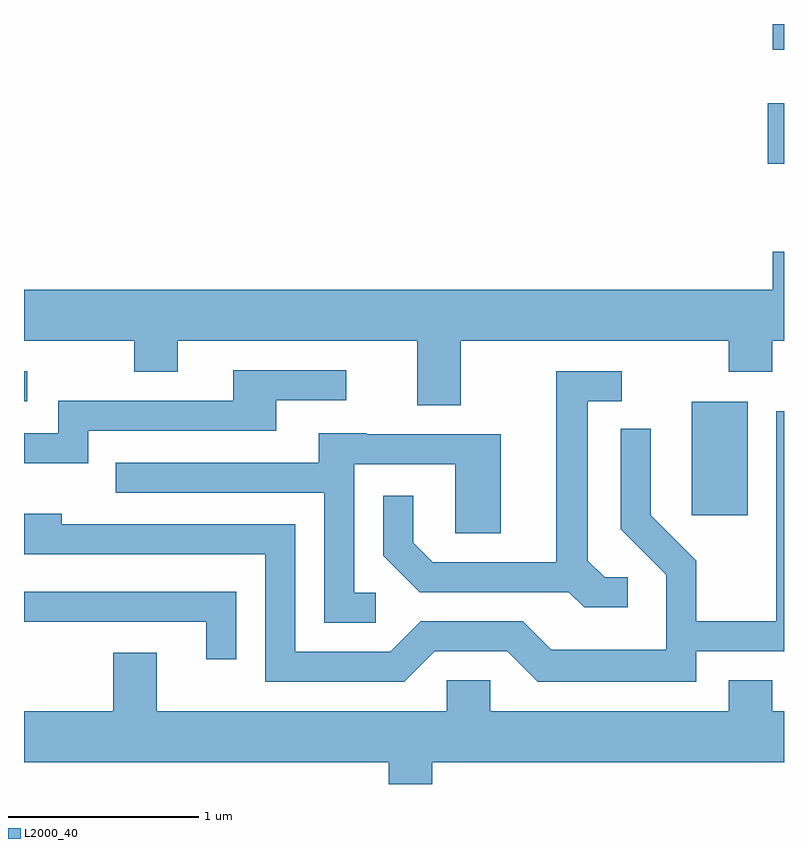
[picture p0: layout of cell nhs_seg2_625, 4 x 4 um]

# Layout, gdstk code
import gdstk
lib = gdstk.Library(unit=1e-6, precision=1e-09)
def R(c, l, rs):  # rectangles x0, y0, x1, y1
    for r in rs: c.add(gdstk.rectangle(r[:2], r[2:], *l))
def P(c, l, *ps):  # polygons
    for p in ps: c.add(gdstk.Polygon(p, *l))
L2000_40 = (2000, 40)

nhs_seg2_625 = lib.new_cell('nhs_seg2_625')
R(nhs_seg2_625, L2000_40, [(207.126,1005.216,207.419,1005.814), (203.611,1005.816,203.628,1005.974), (207.526,1007.066,207.611,1007.384), (207.551,1007.666,207.611,1007.802)])
P(nhs_seg2_625, L2000_40, [(205.909,1006.136),(207.321,1006.136),(207.321,1005.971),(207.549,1005.971),(207.549,1006.136),(207.611,1006.136),(207.611,1006.604),(207.551,1006.604),(207.551,1006.404),(203.611,1006.404),(203.611,1006.136),(204.191,1006.136),(204.191,1005.971),(204.419,1005.971),(204.419,1006.136),(205.681,1006.136),(205.681,1005.796),(205.909,1005.796)],
  [(203.949,1005.661),(204.939,1005.661),(204.939,1005.821),(205.308,1005.821),(205.308,1005.979),(204.711,1005.979),(204.711,1005.819),(203.791,1005.819),(203.791,1005.649),(203.611,1005.649),(203.611,1005.491),(203.949,1005.491)],
  [(206.788,1004.889),(206.667,1004.889),(206.579,1004.977),(206.579,1005.816),(206.758,1005.816),(206.758,1005.974),(206.411,1005.974),(206.411,1004.969),(205.762,1004.969),(205.659,1005.072),(205.659,1005.318),(205.501,1005.318),(205.501,1005.004),(205.694,1004.811),(206.479,1004.811),(206.559,1004.731),(206.788,1004.731)],
  [(205.772,1004.501),(206.154,1004.501),(206.314,1004.341),(207.149,1004.341),(207.149,1004.501),(207.611,1004.501),(207.611,1005.764),(207.571,1005.764),(207.571,1004.659),(207.149,1004.659),(207.149,1004.977),(206.909,1005.217),(206.909,1005.673),(206.751,1005.673),(206.751,1005.144),(206.991,1004.904),(206.991,1004.509),(206.387,1004.509),(206.237,1004.659),(205.699,1004.659),(205.539,1004.499),(205.039,1004.499),(205.039,1005.169),(203.809,1005.169),(203.809,1005.224),(203.611,1005.224),(203.611,1005.011),(204.881,1005.011),(204.881,1004.341),(205.612,1004.341)],
  [(205.463,1004.809),(205.349,1004.809),(205.349,1005.486),(205.881,1005.486),(205.881,1005.121),(206.119,1005.121),(206.119,1005.644),(205.415,1005.644),(205.415,1005.649),(205.161,1005.649),(205.161,1005.494),(204.093,1005.494),(204.093,1005.336),(205.191,1005.336),(205.191,1004.651),(205.463,1004.651)],
  [(204.729,1004.814),(203.611,1004.814),(203.611,1004.656),(204.571,1004.656),(204.571,1004.458),(204.729,1004.458)],
  [(205.759,1003.916),(207.611,1003.916),(207.611,1004.184),(207.549,1004.184),(207.549,1004.349),(207.321,1004.349),(207.321,1004.184),(206.064,1004.184),(206.064,1004.349),(205.836,1004.349),(205.836,1004.184),(204.309,1004.184),(204.309,1004.494),(204.081,1004.494),(204.081,1004.184),(203.611,1004.184),(203.611,1003.916),(205.531,1003.916),(205.531,1003.802),(205.759,1003.802)])

lib.write_gds('nhs_seg2_625.gds')
